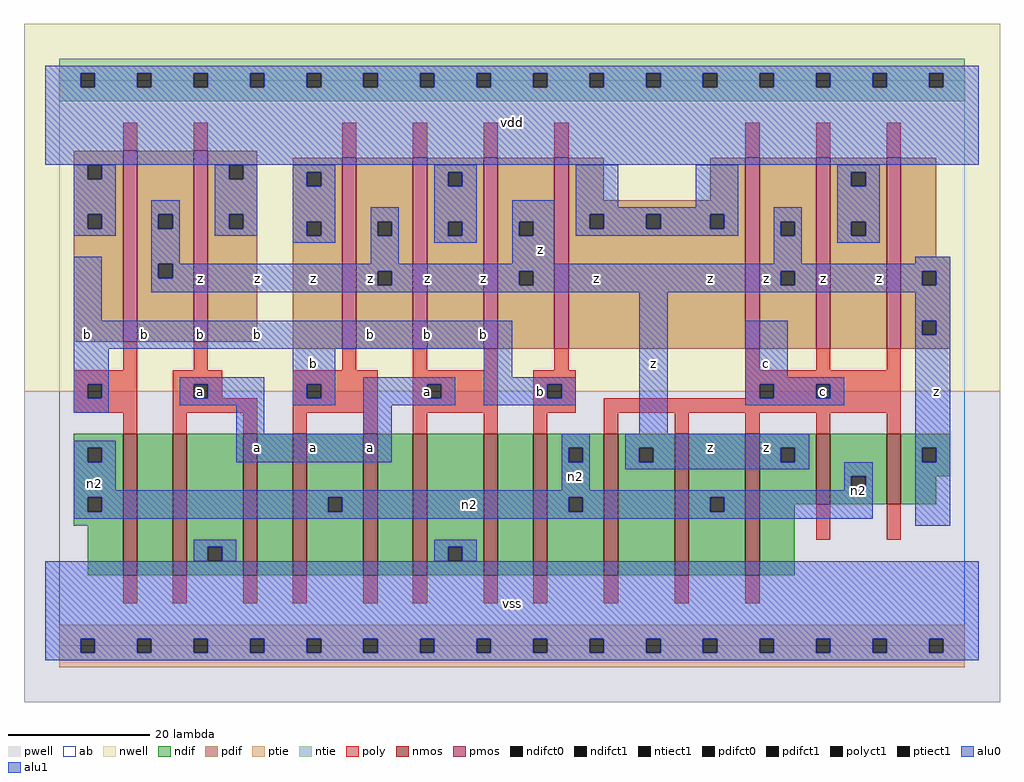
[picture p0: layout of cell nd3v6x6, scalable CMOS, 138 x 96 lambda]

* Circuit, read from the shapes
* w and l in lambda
.subckt nd3v6x6 a b c n2 vdd vss z
M1 n1 b n2 vss nfet w=20 l=2
M2 vss a n1 vss nfet w=20 l=2
M3 n3 a vss vss nfet w=20 l=2
M4 n2 b n3 vss nfet w=20 l=2
M5 n4 b n2 vss nfet w=20 l=2
M6 vss a n4 vss nfet w=20 l=2
M7 n5 a vss vss nfet w=20 l=2
M8 n2 b n5 vss nfet w=20 l=2
M9 z c n2 vss nfet w=20 l=2 m=3
M10 n2 c z vss nfet w=10 l=2 m=2
M11 z b vdd vdd pfet w=27 l=2 m=3
M12 vdd a z vdd pfet w=27 l=2 m=3
M13 z c vdd vdd pfet w=27 l=2 m=3
.ends

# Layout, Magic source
magic
tech scmos
<< ab >>
rect 0 0 128 80
<< nwell >>
rect -5 36 133 88
<< pwell >>
rect -5 -8 133 36
<< poly >>
rect 9 70 11 74
rect 19 70 21 74
rect 40 69 42 74
rect 50 69 52 74
rect 60 69 62 74
rect 70 69 72 74
rect 97 69 99 74
rect 107 69 109 74
rect 117 69 119 74
rect 9 39 11 43
rect 19 39 21 43
rect 40 39 42 42
rect 50 39 52 42
rect 60 39 62 42
rect 70 39 72 42
rect 97 39 99 42
rect 107 39 109 42
rect 117 39 119 42
rect 2 37 11 39
rect 2 35 4 37
rect 6 35 11 37
rect 2 33 11 35
rect 9 30 11 33
rect 16 37 23 39
rect 16 35 19 37
rect 21 35 23 37
rect 33 37 45 39
rect 33 35 35 37
rect 37 35 45 37
rect 16 33 28 35
rect 16 30 18 33
rect 26 30 28 33
rect 33 33 45 35
rect 33 30 35 33
rect 43 30 45 33
rect 50 37 62 39
rect 50 35 52 37
rect 54 35 62 37
rect 50 33 62 35
rect 50 30 52 33
rect 60 30 62 33
rect 67 37 73 39
rect 67 35 69 37
rect 71 35 73 37
rect 97 37 119 39
rect 97 35 99 37
rect 101 35 107 37
rect 109 35 119 37
rect 67 33 73 35
rect 77 33 119 35
rect 67 30 69 33
rect 77 30 79 33
rect 87 30 89 33
rect 97 30 99 33
rect 107 30 109 33
rect 117 30 119 33
rect 107 15 109 20
rect 117 15 119 20
rect 9 6 11 10
rect 16 6 18 10
rect 26 6 28 10
rect 33 6 35 10
rect 43 6 45 10
rect 50 6 52 10
rect 60 6 62 10
rect 67 6 69 10
rect 77 6 79 10
rect 87 6 89 10
rect 97 6 99 10
<< ndif >>
rect 2 28 9 30
rect 2 26 4 28
rect 6 26 9 28
rect 2 21 9 26
rect 2 19 4 21
rect 6 19 9 21
rect 2 17 9 19
rect 4 10 9 17
rect 11 10 16 30
rect 18 14 26 30
rect 18 12 21 14
rect 23 12 26 14
rect 18 10 26 12
rect 28 10 33 30
rect 35 21 43 30
rect 35 19 38 21
rect 40 19 43 21
rect 35 10 43 19
rect 45 10 50 30
rect 52 14 60 30
rect 52 12 55 14
rect 57 12 60 14
rect 52 10 60 12
rect 62 10 67 30
rect 69 28 77 30
rect 69 26 72 28
rect 74 26 77 28
rect 69 21 77 26
rect 69 19 72 21
rect 74 19 77 21
rect 69 10 77 19
rect 79 28 87 30
rect 79 26 82 28
rect 84 26 87 28
rect 79 10 87 26
rect 89 21 97 30
rect 89 19 92 21
rect 94 19 97 21
rect 89 10 97 19
rect 99 28 107 30
rect 99 26 102 28
rect 104 26 107 28
rect 99 20 107 26
rect 109 24 117 30
rect 109 22 112 24
rect 114 22 117 24
rect 109 20 117 22
rect 119 28 126 30
rect 119 26 122 28
rect 124 26 126 28
rect 119 24 126 26
rect 119 20 124 24
rect 99 10 104 20
<< pdif >>
rect 2 68 9 70
rect 2 66 4 68
rect 6 66 9 68
rect 2 61 9 66
rect 2 59 4 61
rect 6 59 9 61
rect 2 43 9 59
rect 11 61 19 70
rect 11 59 14 61
rect 16 59 19 61
rect 11 54 19 59
rect 11 52 14 54
rect 16 52 19 54
rect 11 43 19 52
rect 21 68 28 70
rect 21 66 24 68
rect 26 66 28 68
rect 21 61 28 66
rect 21 59 24 61
rect 26 59 28 61
rect 21 43 28 59
rect 33 67 40 69
rect 33 65 35 67
rect 37 65 40 67
rect 33 60 40 65
rect 33 58 35 60
rect 37 58 40 60
rect 33 42 40 58
rect 42 60 50 69
rect 42 58 45 60
rect 47 58 50 60
rect 42 53 50 58
rect 42 51 45 53
rect 47 51 50 53
rect 42 42 50 51
rect 52 67 60 69
rect 52 65 55 67
rect 57 65 60 67
rect 52 60 60 65
rect 52 58 55 60
rect 57 58 60 60
rect 52 42 60 58
rect 62 60 70 69
rect 62 58 65 60
rect 67 58 70 60
rect 62 53 70 58
rect 62 51 65 53
rect 67 51 70 53
rect 62 42 70 51
rect 72 63 77 69
rect 92 63 97 69
rect 72 61 97 63
rect 72 59 75 61
rect 77 59 83 61
rect 85 59 92 61
rect 94 59 97 61
rect 72 42 97 59
rect 99 60 107 69
rect 99 58 102 60
rect 104 58 107 60
rect 99 53 107 58
rect 99 51 102 53
rect 104 51 107 53
rect 99 42 107 51
rect 109 67 117 69
rect 109 65 112 67
rect 114 65 117 67
rect 109 60 117 65
rect 109 58 112 60
rect 114 58 117 60
rect 109 42 117 58
rect 119 55 124 69
rect 119 53 126 55
rect 119 51 122 53
rect 124 51 126 53
rect 119 46 126 51
rect 119 44 122 46
rect 124 44 126 46
rect 119 42 126 44
<< alu1 >>
rect -2 81 130 82
rect -2 79 3 81
rect 5 79 11 81
rect 13 79 19 81
rect 21 79 27 81
rect 29 79 35 81
rect 37 79 43 81
rect 45 79 51 81
rect 53 79 59 81
rect 61 79 67 81
rect 69 79 75 81
rect 77 79 83 81
rect 85 79 91 81
rect 93 79 99 81
rect 101 79 107 81
rect 109 79 115 81
rect 117 79 123 81
rect 125 79 130 81
rect -2 68 130 79
rect 13 61 17 63
rect 13 59 14 61
rect 16 59 17 61
rect 2 46 6 55
rect 13 54 17 59
rect 44 60 48 62
rect 44 58 45 60
rect 47 58 48 60
rect 44 54 48 58
rect 64 60 70 63
rect 64 58 65 60
rect 67 58 70 60
rect 101 60 105 62
rect 101 58 102 60
rect 104 58 105 60
rect 64 54 70 58
rect 101 54 105 58
rect 121 54 126 55
rect 13 52 14 54
rect 16 53 126 54
rect 16 52 45 53
rect 13 51 45 52
rect 47 51 65 53
rect 67 51 102 53
rect 104 51 122 53
rect 124 51 126 53
rect 13 50 126 51
rect 2 42 64 46
rect 2 37 7 42
rect 2 35 4 37
rect 6 35 7 37
rect 2 33 7 35
rect 17 37 29 38
rect 17 35 19 37
rect 21 35 29 37
rect 17 34 29 35
rect 33 37 39 42
rect 60 38 64 42
rect 33 35 35 37
rect 37 35 39 37
rect 33 34 39 35
rect 43 37 56 38
rect 43 35 52 37
rect 54 35 56 37
rect 43 34 56 35
rect 60 37 73 38
rect 60 35 69 37
rect 71 35 73 37
rect 60 34 73 35
rect 25 30 29 34
rect 43 30 47 34
rect 82 30 86 50
rect 121 46 126 50
rect 97 38 103 46
rect 121 44 122 46
rect 124 44 126 46
rect 97 37 111 38
rect 97 35 99 37
rect 101 35 107 37
rect 109 35 111 37
rect 97 34 111 35
rect 25 26 47 30
rect 80 28 106 30
rect 80 26 82 28
rect 84 26 102 28
rect 104 26 106 28
rect 121 28 126 44
rect 121 26 122 28
rect 124 26 126 28
rect 80 25 106 26
rect 121 17 126 26
rect -2 1 130 12
rect -2 -1 3 1
rect 5 -1 11 1
rect 13 -1 19 1
rect 21 -1 27 1
rect 29 -1 35 1
rect 37 -1 43 1
rect 45 -1 51 1
rect 53 -1 59 1
rect 61 -1 67 1
rect 69 -1 75 1
rect 77 -1 83 1
rect 85 -1 91 1
rect 93 -1 99 1
rect 101 -1 107 1
rect 109 -1 115 1
rect 117 -1 123 1
rect 125 -1 130 1
rect -2 -2 130 -1
<< ptie >>
rect 0 1 128 3
rect 0 -1 3 1
rect 5 -1 11 1
rect 13 -1 19 1
rect 21 -1 27 1
rect 29 -1 35 1
rect 37 -1 43 1
rect 45 -1 51 1
rect 53 -1 59 1
rect 61 -1 67 1
rect 69 -1 75 1
rect 77 -1 83 1
rect 85 -1 91 1
rect 93 -1 99 1
rect 101 -1 107 1
rect 109 -1 115 1
rect 117 -1 123 1
rect 125 -1 128 1
rect 0 -3 128 -1
<< ntie >>
rect 0 81 128 83
rect 0 79 3 81
rect 5 79 11 81
rect 13 79 19 81
rect 21 79 27 81
rect 29 79 35 81
rect 37 79 43 81
rect 45 79 51 81
rect 53 79 59 81
rect 61 79 67 81
rect 69 79 75 81
rect 77 79 83 81
rect 85 79 91 81
rect 93 79 99 81
rect 101 79 107 81
rect 109 79 115 81
rect 117 79 123 81
rect 125 79 128 81
rect 0 77 128 79
<< nmos >>
rect 9 10 11 30
rect 16 10 18 30
rect 26 10 28 30
rect 33 10 35 30
rect 43 10 45 30
rect 50 10 52 30
rect 60 10 62 30
rect 67 10 69 30
rect 77 10 79 30
rect 87 10 89 30
rect 97 10 99 30
rect 107 20 109 30
rect 117 20 119 30
<< pmos >>
rect 9 43 11 70
rect 19 43 21 70
rect 40 42 42 69
rect 50 42 52 69
rect 60 42 62 69
rect 70 42 72 69
rect 97 42 99 69
rect 107 42 109 69
rect 117 42 119 69
<< polyct1 >>
rect 4 35 6 37
rect 19 35 21 37
rect 35 35 37 37
rect 52 35 54 37
rect 69 35 71 37
rect 99 35 101 37
rect 107 35 109 37
<< ndifct0 >>
rect 4 26 6 28
rect 4 19 6 21
rect 21 12 23 14
rect 38 19 40 21
rect 55 12 57 14
rect 72 26 74 28
rect 72 19 74 21
rect 92 19 94 21
rect 112 22 114 24
<< ndifct1 >>
rect 82 26 84 28
rect 102 26 104 28
rect 122 26 124 28
<< ntiect1 >>
rect 3 79 5 81
rect 11 79 13 81
rect 19 79 21 81
rect 27 79 29 81
rect 35 79 37 81
rect 43 79 45 81
rect 51 79 53 81
rect 59 79 61 81
rect 67 79 69 81
rect 75 79 77 81
rect 83 79 85 81
rect 91 79 93 81
rect 99 79 101 81
rect 107 79 109 81
rect 115 79 117 81
rect 123 79 125 81
<< ptiect1 >>
rect 3 -1 5 1
rect 11 -1 13 1
rect 19 -1 21 1
rect 27 -1 29 1
rect 35 -1 37 1
rect 43 -1 45 1
rect 51 -1 53 1
rect 59 -1 61 1
rect 67 -1 69 1
rect 75 -1 77 1
rect 83 -1 85 1
rect 91 -1 93 1
rect 99 -1 101 1
rect 107 -1 109 1
rect 115 -1 117 1
rect 123 -1 125 1
<< pdifct0 >>
rect 4 66 6 68
rect 4 59 6 61
rect 24 66 26 68
rect 24 59 26 61
rect 35 65 37 67
rect 35 58 37 60
rect 55 65 57 67
rect 55 58 57 60
rect 75 59 77 61
rect 83 59 85 61
rect 92 59 94 61
rect 112 65 114 67
rect 112 58 114 60
<< pdifct1 >>
rect 14 59 16 61
rect 14 52 16 54
rect 45 58 47 60
rect 45 51 47 53
rect 65 58 67 60
rect 65 51 67 53
rect 102 58 104 60
rect 102 51 104 53
rect 122 51 124 53
rect 122 44 124 46
<< alu0 >>
rect 2 66 4 68
rect 6 66 8 68
rect 2 61 8 66
rect 22 66 24 68
rect 26 66 28 68
rect 2 59 4 61
rect 6 59 8 61
rect 2 58 8 59
rect 22 61 28 66
rect 22 59 24 61
rect 26 59 28 61
rect 22 58 28 59
rect 33 67 39 68
rect 33 65 35 67
rect 37 65 39 67
rect 33 60 39 65
rect 53 67 59 68
rect 53 65 55 67
rect 57 65 59 67
rect 33 58 35 60
rect 37 58 39 60
rect 33 57 39 58
rect 53 60 59 65
rect 53 58 55 60
rect 57 58 59 60
rect 53 57 59 58
rect 73 62 79 68
rect 90 62 96 68
rect 110 67 116 68
rect 110 65 112 67
rect 114 65 116 67
rect 73 61 96 62
rect 73 59 75 61
rect 77 59 83 61
rect 85 59 92 61
rect 94 59 96 61
rect 73 58 96 59
rect 110 60 116 65
rect 110 58 112 60
rect 114 58 116 60
rect 110 57 116 58
rect 2 28 8 29
rect 2 26 4 28
rect 6 26 8 28
rect 71 28 75 30
rect 71 26 72 28
rect 74 26 75 28
rect 2 22 8 26
rect 71 22 75 26
rect 111 24 115 26
rect 111 22 112 24
rect 114 22 115 24
rect 2 21 115 22
rect 2 19 4 21
rect 6 19 38 21
rect 40 19 72 21
rect 74 19 92 21
rect 94 19 115 21
rect 2 18 115 19
rect 19 14 25 15
rect 19 12 21 14
rect 23 12 25 14
rect 53 14 59 15
rect 53 12 55 14
rect 57 12 59 14
<< labels >>
rlabel alu0 5 23 5 23 6 n2
rlabel alu0 73 24 73 24 6 n2
rlabel alu0 58 20 58 20 6 n2
rlabel alu0 113 22 113 22 6 n2
rlabel alu1 4 44 4 44 6 b
rlabel alu1 12 44 12 44 6 b
rlabel alu1 20 44 20 44 6 b
rlabel polyct1 20 36 20 36 6 a
rlabel alu1 20 52 20 52 6 z
rlabel alu1 44 28 44 28 6 a
rlabel alu1 36 28 36 28 6 a
rlabel alu1 28 28 28 28 6 a
rlabel alu1 36 40 36 40 6 b
rlabel alu1 28 44 28 44 6 b
rlabel alu1 44 44 44 44 6 b
rlabel alu1 36 52 36 52 6 z
rlabel alu1 44 52 44 52 6 z
rlabel alu1 28 52 28 52 6 z
rlabel alu1 64 6 64 6 6 vss
rlabel alu1 52 36 52 36 6 a
rlabel alu1 52 44 52 44 6 b
rlabel alu1 68 36 68 36 6 b
rlabel alu1 60 44 60 44 6 b
rlabel alu1 60 52 60 52 6 z
rlabel alu1 52 52 52 52 6 z
rlabel alu1 68 56 68 56 6 z
rlabel alu1 64 74 64 74 6 vdd
rlabel alu1 100 28 100 28 6 z
rlabel alu1 92 28 92 28 6 z
rlabel alu1 84 40 84 40 6 z
rlabel alu1 100 40 100 40 6 c
rlabel alu1 100 52 100 52 6 z
rlabel alu1 92 52 92 52 6 z
rlabel alu1 76 52 76 52 6 z
rlabel alu1 124 36 124 36 6 z
rlabel polyct1 108 36 108 36 6 c
rlabel alu1 108 52 108 52 6 z
rlabel alu1 116 52 116 52 6 z
<< end >>
